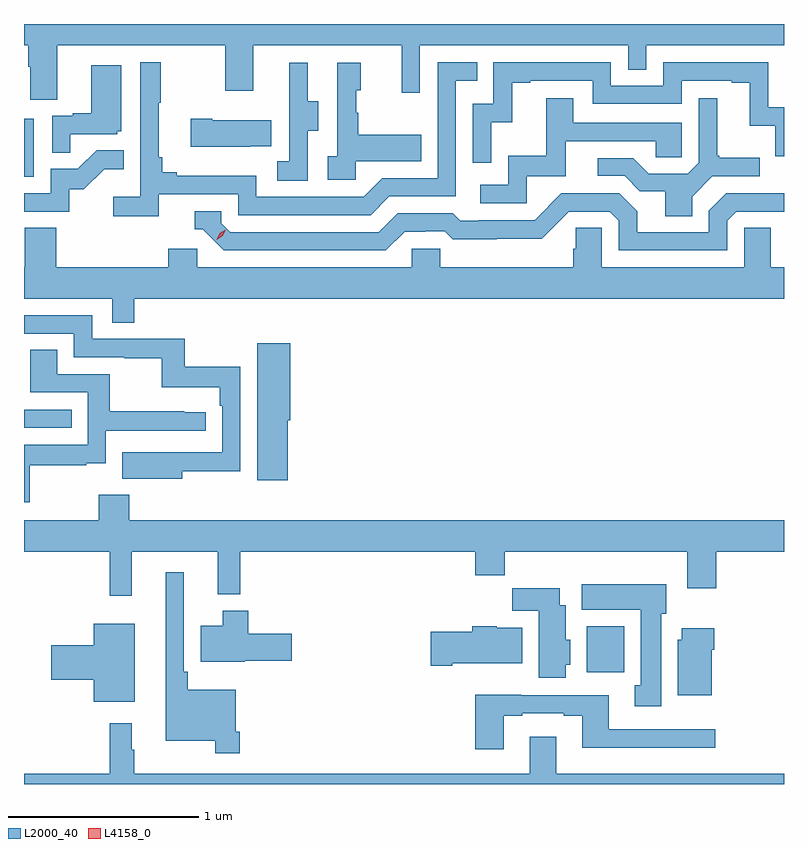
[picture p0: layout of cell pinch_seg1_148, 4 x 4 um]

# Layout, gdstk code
import gdstk
lib = gdstk.Library(unit=1e-6, precision=1e-09)
def R(c, l, rs):  # rectangles x0, y0, x1, y1
    for r in rs: c.add(gdstk.rectangle(r[:2], r[2:], *l))
def P(c, l, *ps):  # polygons
    for p in ps: c.add(gdstk.Polygon(p, *l))
L2000_40 = (2000, 40)
L4158_0 = (4158, 0)

pinch_seg1_148 = lib.new_cell('pinch_seg1_148')
R(pinch_seg1_148, L2000_40, [(1132.763,552.428,1132.96,552.67), (1129.801,553.716,1130.051,553.812), (1129.801,555.036,1129.852,555.343)])
P(pinch_seg1_148, L2000_40, [(1129.975,555.728),(1130.86,555.728),(1130.86,555.489),(1131.007,555.489),(1131.007,555.728),(1131.788,555.728),(1131.788,555.48),(1131.885,555.48),(1131.885,555.728),(1132.98,555.728),(1132.98,555.601),(1133.076,555.601),(1133.076,555.728),(1133.801,555.728),(1133.801,555.841),(1129.801,555.841),(1129.801,555.728),(1129.823,555.728),(1129.823,555.616),(1129.835,555.616),(1129.835,555.442),(1129.975,555.442)],
  [(1130.51,554.946),(1130.928,554.946),(1130.928,554.835),(1131.625,554.835),(1131.724,554.934),(1132.074,554.934),(1132.074,555.543),(1132.187,555.543),(1132.187,555.639),(1131.978,555.639),(1131.978,555.03),(1131.687,555.03),(1131.588,554.931),(1131.024,554.931),(1131.024,555.043),(1130.605,555.043),(1130.605,555.062),(1130.528,555.062),(1130.528,555.139),(1130.509,555.139),(1130.509,555.427),(1130.521,555.427),(1130.521,555.64),(1130.412,555.64),(1130.412,554.932),(1130.271,554.932),(1130.271,554.83),(1130.51,554.83)],
  [(1132.26,555.323),(1132.37,555.323),(1132.37,555.531),(1132.465,555.531),(1132.465,555.543),(1132.794,555.543),(1132.794,555.42),(1133.262,555.42),(1133.262,555.543),(1133.525,555.543),(1133.525,555.531),(1133.621,555.531),(1133.621,555.305),(1133.754,555.305),(1133.754,555.144),(1133.801,555.144),(1133.801,555.403),(1133.718,555.403),(1133.718,555.639),(1133.166,555.639),(1133.166,555.516),(1132.89,555.516),(1132.89,555.639),(1132.272,555.639),(1132.272,555.42),(1132.164,555.42),(1132.164,555.111),(1132.26,555.111)],
  [(1131.546,555.119),(1131.893,555.119),(1131.893,555.259),(1131.559,555.259),(1131.559,555.374),(1131.549,555.374),(1131.549,555.492),(1131.574,555.492),(1131.574,555.637),(1131.45,555.637),(1131.45,555.146),(1131.399,555.146),(1131.399,555.021),(1131.546,555.021)],
  [(1131.294,555.28),(1131.349,555.28),(1131.349,555.435),(1131.295,555.435),(1131.295,555.637),(1131.197,555.637),(1131.197,555.423),(1131.198,555.423),(1131.198,555.119),(1131.135,555.119),(1131.135,555.016),(1131.294,555.016)],
  [(1130.045,555.261),(1130.292,555.261),(1130.292,555.276),(1130.314,555.276),(1130.314,555.625),(1130.156,555.625),(1130.156,555.37),(1130.057,555.37),(1130.057,555.357),(1129.95,555.357),(1129.95,555.163),(1130.045,555.163)],
  [(1132.446,555.039),(1132.651,555.039),(1132.651,555.225),(1133.125,555.225),(1133.125,555.141),(1133.262,555.141),(1133.262,555.321),(1132.693,555.321),(1132.693,555.451),(1132.549,555.451),(1132.549,555.148),(1132.35,555.148),(1132.35,554.994),(1132.203,554.994),(1132.203,554.898),(1132.446,554.898)],
  [(1133.317,554.932),(1133.424,555.039),(1133.674,555.039),(1133.674,555.136),(1133.461,555.136),(1133.461,555.148),(1133.449,555.148),(1133.449,555.451),(1133.352,555.451),(1133.352,555.111),(1133.295,555.054),(1133.089,555.054),(1133.008,555.135),(1132.821,555.135),(1132.821,555.042),(1132.962,555.042),(1133.042,554.962),(1133.177,554.962),(1133.177,554.83),(1133.317,554.83)],
  [(1130.993,555.197),(1131.101,555.197),(1131.101,555.334),(1130.791,555.334),(1130.791,555.342),(1130.679,555.342),(1130.679,555.194),(1130.993,555.194)],
  [(1130.04,554.97),(1130.116,554.97),(1130.223,555.077),(1130.327,555.077),(1130.327,555.176),(1130.183,555.176),(1130.085,555.078),(1129.941,555.078),(1129.941,554.949),(1129.801,554.949),(1129.801,554.853),(1130.04,554.853)],
  [(1131.805,554.748),(1131.912,554.748),(1131.912,554.751),(1132.015,554.751),(1132.057,554.709),(1132.29,554.709),(1132.29,554.711),(1132.526,554.711),(1132.668,554.853),(1132.884,554.853),(1132.932,554.805),(1132.932,554.649),(1133.502,554.649),(1133.502,554.805),(1133.55,554.853),(1133.801,554.853),(1133.801,554.951),(1133.712,554.951),(1133.712,554.949),(1133.496,554.949),(1133.406,554.859),(1133.406,554.745),(1133.029,554.745),(1133.029,554.855),(1132.935,554.949),(1132.629,554.949),(1132.488,554.808),(1132.195,554.808),(1132.195,554.805),(1132.096,554.805),(1132.057,554.844),(1131.768,554.844),(1131.669,554.745),(1130.886,554.745),(1130.838,554.793),(1130.838,554.856),(1130.699,554.856),(1130.699,554.76),(1130.742,554.76),(1130.853,554.649),(1131.706,554.649)],
  [(1130.381,554.396),(1133.801,554.396),(1133.801,554.56),(1133.731,554.56),(1133.731,554.768),(1133.592,554.768),(1133.592,554.56),(1132.842,554.56),(1132.842,554.768),(1132.705,554.768),(1132.705,554.658),(1132.691,554.658),(1132.691,554.56),(1131.993,554.56),(1131.993,554.658),(1131.843,554.658),(1131.843,554.56),(1130.712,554.56),(1130.712,554.658),(1130.561,554.658),(1130.561,554.56),(1129.97,554.56),(1129.97,554.768),(1129.805,554.768),(1129.805,554.56),(1129.801,554.56),(1129.801,554.396),(1130.265,554.396),(1130.265,554.269),(1130.381,554.269)],
  [(1130.635,553.486),(1130.94,553.486),(1130.94,554.038),(1130.647,554.038),(1130.647,554.184),(1130.16,554.184),(1130.16,554.307),(1129.801,554.307),(1129.801,554.211),(1130.064,554.211),(1130.064,554.088),(1130.329,554.088),(1130.329,554.083),(1130.526,554.083),(1130.526,553.928),(1130.831,553.928),(1130.831,553.832),(1130.844,553.832),(1130.844,553.587),(1130.531,553.587),(1130.531,553.588),(1130.317,553.588),(1130.317,553.448),(1130.635,553.448)],
  [(1131.19,553.755),(1131.202,553.755),(1131.202,554.161),(1131.029,554.161),(1131.029,553.44),(1131.19,553.44)],
  [(1129.831,553.518),(1130.129,553.518),(1130.129,553.529),(1130.232,553.529),(1130.232,553.701),(1130.758,553.701),(1130.758,553.797),(1130.645,553.797),(1130.645,553.802),(1130.252,553.802),(1130.252,553.998),(1129.975,553.998),(1129.975,554.126),(1129.835,554.126),(1129.835,553.902),(1130.136,553.902),(1130.136,553.626),(1129.801,553.626),(1129.801,553.323),(1129.831,553.323)],
  [(1130.369,553.064),(1130.822,553.064),(1130.822,552.839),(1130.939,552.839),(1130.939,553.064),(1132.175,553.064),(1132.175,552.94),(1132.331,552.94),(1132.331,553.064),(1133.291,553.064),(1133.291,552.87),(1133.444,552.87),(1133.444,553.064),(1133.801,553.064),(1133.801,553.228),(1130.354,553.228),(1130.354,553.363),(1130.194,553.363),(1130.194,553.228),(1129.801,553.228),(1129.801,553.064),(1130.251,553.064),(1130.251,552.831),(1130.369,552.831)],
  [(1130.936,552.115),(1130.916,552.115),(1130.916,552.337),(1130.663,552.337),(1130.663,552.433),(1130.643,552.433),(1130.643,552.955),(1130.546,552.955),(1130.546,552.068),(1130.808,552.068),(1130.808,552.003),(1130.936,552.003)],
  [(1133.155,552.738),(1133.182,552.738),(1133.182,552.892),(1132.736,552.892),(1132.736,552.758),(1133.048,552.758),(1133.048,552.362),(1133.015,552.362),(1133.015,552.249),(1133.155,552.249)],
  [(1132.651,552.468),(1132.675,552.468),(1132.675,552.6),(1132.651,552.6),(1132.651,552.781),(1132.621,552.781),(1132.621,552.871),(1132.372,552.871),(1132.372,552.752),(1132.511,552.752),(1132.511,552.401),(1132.651,552.401)],
  [(1130.964,552.491),(1131.211,552.491),(1131.211,552.633),(1130.981,552.633),(1130.981,552.754),(1130.846,552.754),(1130.846,552.673),(1130.732,552.673),(1130.732,552.485),(1130.964,552.485)],
  [(1130.383,552.685),(1130.168,552.685),(1130.168,552.572),(1129.944,552.572),(1129.944,552.389),(1130.168,552.389),(1130.168,552.275),(1130.383,552.275)],
  [(1132.054,552.476),(1132.423,552.476),(1132.423,552.664),(1132.29,552.664),(1132.29,552.67),(1132.16,552.67),(1132.16,552.642),(1131.942,552.642),(1131.942,552.464),(1132.054,552.464)],
  [(1133.422,552.548),(1133.435,552.548),(1133.435,552.661),(1133.264,552.661),(1133.264,552.6),(1133.243,552.6),(1133.243,552.308),(1133.422,552.308)],
  [(1132.327,552.201),(1132.423,552.201),(1132.423,552.213),(1132.643,552.213),(1132.643,552.201),(1132.739,552.201),(1132.739,552.032),(1133.44,552.032),(1133.44,552.129),(1132.879,552.129),(1132.879,552.309),(1132.419,552.309),(1132.419,552.31),(1132.175,552.31),(1132.175,552.024),(1132.327,552.024)],
  [(1133.801,551.896),(1132.603,551.896),(1132.603,552.091),(1132.463,552.091),(1132.463,551.896),(1130.38,551.896),(1130.38,552.02),(1130.368,552.02),(1130.368,552.16),(1130.251,552.16),(1130.251,551.896),(1129.801,551.896),(1129.801,551.841),(1133.801,551.841)])
P(pinch_seg1_148, L4158_0, [(1130.815,554.706),(1130.815,554.707),(1130.832,554.739),(1130.863,554.758),(1130.863,554.758),(1130.863,554.758),(1130.846,554.726),(1130.816,554.706)])

lib.write_gds('pinch_seg1_148.gds')
